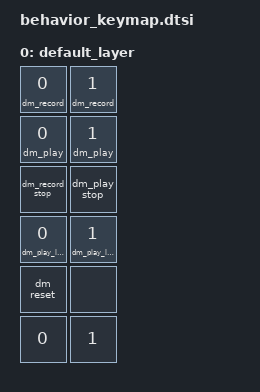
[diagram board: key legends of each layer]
#include <dt-bindings/zmk/keys.h>
#include <behaviors.dtsi>
/ {

    kscan: native_posix_64_kscan_mock {
		compatible = "zmk,kscan-mock";
		label = "KSCAN_MOCK";

		rows = <6>;
		columns = <2>;
		exit-after;
	};

    behaviors {
        dm_record: dm_record {
            compatible = "zmk,behavior-dm-record";
            #binding-cells = <1>;
        };

        dm_play: dm_play {
            compatible = "zmk,behavior-dm-play";
            #binding-cells = <1>;
        };

        dm_record_stop: dm_record_stop {
            compatible = "zmk,behavior-dm-record-stop";
            #binding-cells = <0>;
        };

        dm_play_stop: dm_play_stop {
            compatible = "zmk,behavior-dm-play-stop";
            #binding-cells = <0>;
        };

        dm_play_loop: dm_play_loop {
            compatible = "zmk,behavior-dm-play-loop";
            #binding-cells = <1>;
        };

        dm_reset: dm_reset {
            compatible = "zmk,behavior-dm-reset";
            #binding-cells = <0>;
        };
    };

    keymap {
        compatible = "zmk,keymap";
        default_layer {
            bindings = <
                &dm_record 0 &dm_record 1
                &dm_play 0   &dm_play 1
                &dm_record_stop &dm_play_stop
                &dm_play_loop 0 &dm_play_loop 1
                &dm_reset &none
                &kp N0 &kp N1
            >;
        };
    };
};
